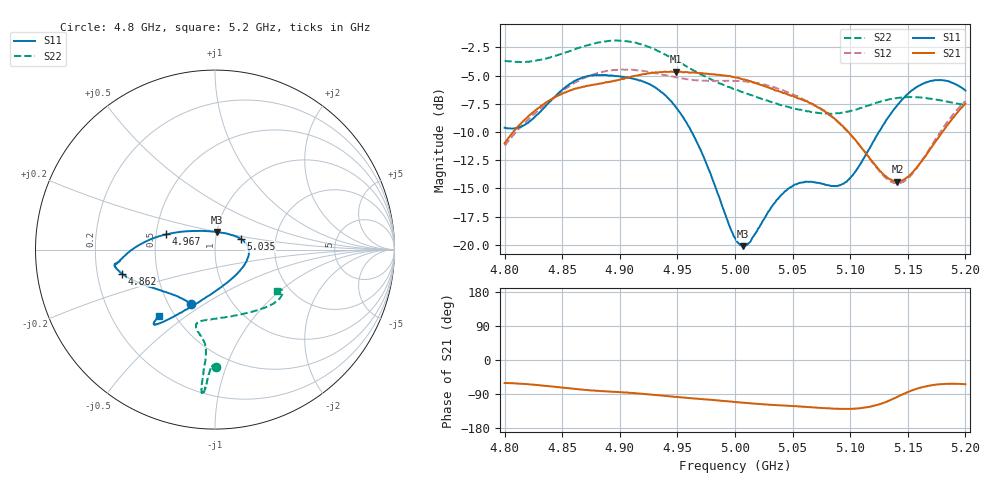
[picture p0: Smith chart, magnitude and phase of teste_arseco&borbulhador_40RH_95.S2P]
! Network Analyzer HP8722D
! Hewlett-Packard
! Data name: Linha & Wilkinson
! Saver's name: Rodrigo Anjos
! Comments: Teste da utilização de aquisição
! continua pelo VNA HP8722D
! Time and date: 15/4/2025 17:08
!  Frequency  S11  S21  S12  S22
# HZ  S  MA R 50
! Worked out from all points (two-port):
!   401 points, 4.8 GHz to 5.2 GHz, reference 50 ohm
!   highest |S21| = -4.64 dB at 4.949 GHz (marker M1); lowest = -14.4 dB at 5.141 GHz (marker M2)
!   |S21| within 3 dB of the highest: 4.832 GHz to 5.069 GHz (236.6 MHz wide, 4.78 % of centre); 5.198553 GHz to end of sweep
!   lowest |S11| = -20.1 dB at 5.007 GHz (marker M3), VSWR 1.22, Z = 50.1 + j9.91 ohm
!   |S11| at or under -10 dB: 4.962 GHz to 5.125 GHz (162.5 MHz wide, 3.22 % of centre)
!   |S22| runs from -8.4 to -1.9 dB; largest |S21 - S12| = 0.88
!   S11 on the Smith chart (normalised r, x): 4.8 GHz: 0.65, -0.44; 4.862 GHz: 0.31, -0.12; 4.967 GHz: 0.57, +0.10; 5.035 GHz: 1.32, +0.16; 5.2 GHz: 0.41, -0.40
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4.8e9  0.3304 -113.7  0.2816 -60.8  0.2751 -175.0  0.6539 -89.4
4.819e9  0.3446 -133.4  0.3644 -63.6  0.3523 -173.2  0.648 -91.2
4.862e9  0.5366 -165.6  0.4941 -76.6  0.5272 -176.2  0.7396 -93.5
4.867e9  0.5488 -167.5  0.4997 -78.1  0.5417 -177.3  0.7549 -93.7
4.899e9  0.5577 -172.0  0.5381 -84.9  0.5972 175.8  0.8033 -95.0
4.934e9  0.4851 -178.0  0.5817 -93.2  0.5723 172.0  0.7191 -95.5
4.949e9  0.4057 175.0  0.5864 -97.2  0.5526 172.2  0.6563 -95.3
4.967e9  0.285 162.7  0.5786 -101.9  0.5353 174.1  0.5813 -94.9
5e9  0.1072 107.3  0.5527 -110.8  0.5326 176.5  0.4878 -99.3
5.007e9  0.0985 83.9  0.5406 -112.6  0.5305 176.4  0.4737 -101.0
5.013e9  0.1026 64.8  0.5316 -114.1  0.5253 176.3  0.462 -102.2
5.035e9  0.1544 22.9  0.4833 -118.9  0.4975 175.1  0.4239 -103.8
5.05e9  0.1822 7.3  0.4578 -121.5  0.4641 174.6  0.4038 -100.4
5.067e9  0.1898 -11.2  0.4214 -124.7  0.4218 174.0  0.3872 -91.9
5.087e9  0.1819 -43.5  0.3598 -128.6  0.3583 173.8  0.3826 -76.9
5.098e9  0.1931 -66.9  0.318 -128.8  0.3166 174.6  0.3893 -67.6
5.134e9  0.3732 -116.0  0.1956 -106.9  0.1922 -159.8  0.4414 -43.4
5.141e9  0.4165 -119.8  0.1904 -97.2  0.1874 -148.7  0.4476 -40.2
5.153e9  0.4814 -124.8  0.2062 -80.9  0.2038 -130.2  0.4515 -35.9
5.17e9  0.5323 -128.4  0.2676 -67.0  0.2725 -112.9  0.4443 -32.0
5.184e9  0.5327 -129.8  0.3386 -63.0  0.3489 -107.2  0.4314 -31.1
5.2e9  0.4828 -130.2  0.4225 -63.9  0.4342 -106.0  0.4149 -33.4
